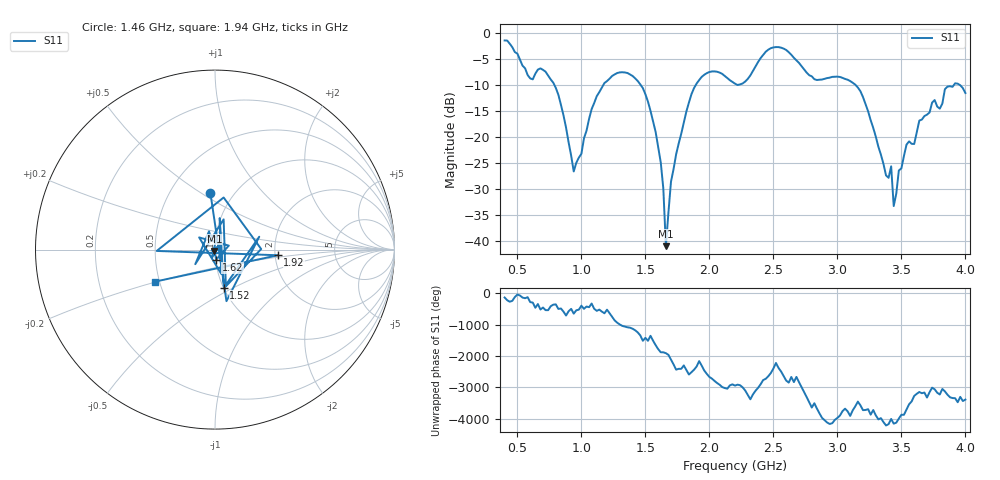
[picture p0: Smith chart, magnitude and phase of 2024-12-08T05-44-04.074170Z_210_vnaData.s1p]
!Created with skrf (http://scikit-rf.org).
# Hz S RI R 50.0
!freq ReS11 ImS11
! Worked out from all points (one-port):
!   181 points, 400 MHz to 4 GHz, reference 50 ohm
!   lowest |S11| = -41.0 dB at 1.66 GHz (marker M1), VSWR 1.02, Z = 49.7 - j0.82 ohm
!   |S11| at or under -10 dB: 788.2 MHz to 1.172 GHz (384 MHz wide, 39.2 % of centre); 1.462 GHz to 1.895 GHz (432.3 MHz wide, 25.8 % of centre); 3.141 GHz to 3.911 GHz (770.5 MHz wide, 21.9 % of centre) (the widest 3 of 5)
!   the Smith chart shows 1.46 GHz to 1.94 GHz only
!   S11 on the Smith chart (normalised r, x): 1.46 GHz: 0.78, +0.55; 1.52 GHz: 1.00, -0.45; 1.62 GHz: 1.01, -0.11; 1.92 GHz: 2.07, -0.15; 1.94 GHz: 0.47, -0.20
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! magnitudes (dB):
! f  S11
! 400 MHz  -1.5
! 600 MHz  -8.8
! 720 MHz  -7.5
! 860 MHz  -15.9
! 940 MHz  -26.6
! 1.12 GHz  -12.2
! 1.3 GHz  -7.6
! 1.46 GHz  -9.9
! 1.52 GHz  -13.2
! 1.62 GHz  -24.9
! 1.64 GHz  -29.9
! 1.66 GHz  -41.0
! 1.7 GHz  -28.6
! 1.76 GHz  -21.3
! 1.92 GHz  -9.1
! 1.94 GHz  -8.5
! 2.2 GHz  -9.8
! 2.48 GHz  -3.0
! 2.66 GHz  -4.8
! 3.1 GHz  -9.3
! 3.2 GHz  -12.4
! 3.38 GHz  -27.4
! 3.42 GHz  -25.6
! 3.44 GHz  -33.3
! 3.48 GHz  -26.4
! 3.56 GHz  -20.9
! 3.86 GHz  -10.3
! 4 GHz  -11.6
